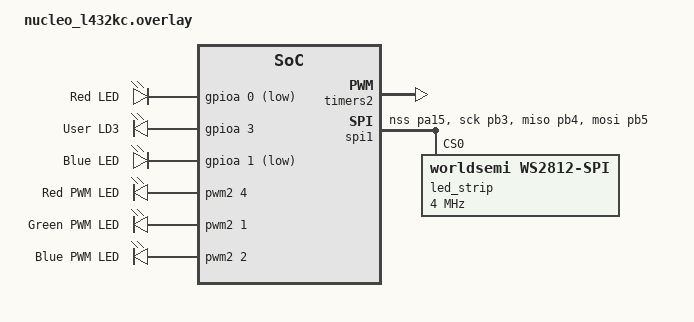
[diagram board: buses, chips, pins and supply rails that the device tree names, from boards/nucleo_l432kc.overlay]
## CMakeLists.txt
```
cmake_minimum_required(VERSION 3.20.5)

list(APPEND ZEPHYR_EXTRA_MODULES ${CMAKE_CURRENT_LIST_DIR}/../../)
find_package(Zephyr REQUIRED HINTS $ENV{ZEPHYR_BASE})
project(multi_led)

target_sources(app PRIVATE src/main.c)
```

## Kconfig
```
choice
	prompt "LED mode"
	default APP_LED_PIN_RGB
	depends on LED || LED_STRIP
	help
	Set GPIO/PWM LED pin configuration

config APP_LED_PIN_INDIVIDUAL
	bool "Individual pin mode"
	help
	Discrete LEDs on each GPIO.

config APP_LED_PIN_RGB
	bool "RGB pin mode"
	help
	RGB LED connected to 3 GPIO pins.

endchoice

source "Kconfig.zephyr"
```

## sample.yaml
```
sample:
  name: multi_led
common:
  tags: LED
  build_only: true
  integration_platforms:
    - nucleo_l432kc
tests:
  samples.multi_led:
    filter: dt_compat_enabled("gpio-leds")
```

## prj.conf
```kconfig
CONFIG_LOG=y
CONFIG_GPIO=y
CONFIG_LED=y
CONFIG_PWM=y
CONFIG_LED_PWM=y
CONFIG_LED_STRIP=y
CONFIG_APP_LED=y
```

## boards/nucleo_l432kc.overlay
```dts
#include <zephyr/dt-bindings/led/led.h>

/ {
	leds: leds {
		compatible = "gpio-leds";
		red_led: led_1 {
			gpios = <&gpioa 0 GPIO_ACTIVE_LOW>;
			label = "Red LED";
		};
		green_led: led_0 {
			gpios = <&gpioa 3 GPIO_ACTIVE_HIGH>;
			label = "User LD3";
		};
		blue_led: led_2 {
			gpios = <&gpioa 1 GPIO_ACTIVE_LOW>;
			label = "Blue LED";
		};
	};

	pwmleds {
		compatible = "pwm-leds";

		red_pwm_led: led_pwm_0 {
			pwms = <&pwm2 4 PWM_HZ(200) PWM_POLARITY_INVERTED>;
			label = "Red PWM LED";
		};

		green_pwm_led: led_pwm_1 {
			pwms = <&pwm2 1 PWM_HZ(200) PWM_POLARITY_INVERTED>;
			label = "Green PWM LED";
		};

		blue_pwm_led: led_pwm_2 {
			pwms = <&pwm2 2 PWM_HZ(200) PWM_POLARITY_INVERTED>;
			label = "Blue PWM LED";
		};
	};

	aliases {
		led-strip = &led_strip;
	};
};

&timers2 {
	status = "okay";

	pwm2: pwm {
		status = "okay";
		pinctrl-0 = <&tim2_ch1_pa0 &tim2_ch2_pa1 &tim2_ch4_pa3>;
		pinctrl-names = "default";
	};
};

&spi1 {
	status = "okay";
	pinctrl-0 = <&spi1_nss_pa15 &spi1_sck_pb3 &spi1_miso_pb4 &spi1_mosi_pb5>;

	led_strip: ws2812@0 {
		compatible = "worldsemi,ws2812-spi";

		/* SPI */
		reg = <0>; /* ignored, but necessary for SPI bindings */
		spi-max-frequency = <4000000>;
		frame-format = <32768>; /* SPI_FRAME_FORMAT_TI */

		/* WS2812 */
		chain-length = <6>; /* arbitrary; change at will */
		reset-delay = <50>; /* default 8 us but 50 us in datasheet and helps prevent flicker */
		spi-one-frame = <0x70>;
		spi-zero-frame = <0x40>;
		color-mapping = <LED_COLOR_ID_GREEN LED_COLOR_ID_RED LED_COLOR_ID_BLUE>;
	};
};
```

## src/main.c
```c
/**
 * @file main.c
 * @brief App LED mutli LED demo
 *
 * Demos using different LED types in the same application
 *
 */
#include <zephyr/device.h>
#include <zephyr/kernel.h>
#include <zephyr/logging/log.h>
#include <zephyr/drivers/gpio.h>
#include <zephyr/drivers/pwm.h>
#include <zephyr/drivers/led_strip.h>

#include <app_led/led.h>

LOG_MODULE_REGISTER(demo_app_led, LOG_LEVEL_INF);

#if DT_HAS_ALIAS(led_strip) && IS_ENABLED(CONFIG_LED_STRIP)
#define STRIP_LED_NODE_ID DT_ALIAS(led_strip)
/* APP_LED_STATIC_STRIP_DEFINE can be used but this helper gets NUM_LEDS from the chain-length
 * property of the led_strip node.
 */
APP_LED_STATIC_STRIP_DEFINE(strpled, STRIP_LED_NODE_ID);
#endif

#if DT_HAS_COMPAT_STATUS_OKAY(pwm_leds) && IS_ENABLED(CONFIG_LED_PWM)
#define PWM_LED_NODE_ID	 DT_COMPAT_GET_ANY_STATUS_OKAY(pwm_leds)
#define PWM_LED_NUM_LEDS DT_CHILD_NUM(PWM_LED_NODE_ID)
APP_LED_STATIC_DEFINE(pwmled, PWM_LED_NODE_ID, PWM_LED_NUM_LEDS, CONFIG_APP_LED_PIN_RGB);
#endif

#if DT_HAS_COMPAT_STATUS_OKAY(gpio_leds) && IS_ENABLED(CONFIG_LED)
#define GPIO_LED_NODE_ID  DT_COMPAT_GET_ANY_STATUS_OKAY(gpio_leds)
#define GPIO_LED_NUM_LEDS DT_CHILD_NUM(GPIO_LED_NODE_ID)
APP_LED_STATIC_DEFINE(gpioled, GPIO_LED_NODE_ID, GPIO_LED_NUM_LEDS, CONFIG_APP_LED_PIN_RGB);
#endif

int main(void)
{
#if DT_HAS_COMPAT_STATUS_OKAY(pwm_leds) && IS_ENABLED(CONFIG_LED_PWM)
	LOG_INF("PWM LED found, initializing");
	if (app_led_init(&pwmled) != 0) {
		LOG_ERR("Failed to initialize %s", pwmled.app_led->name);
		return 1;
	}

	/* Set PWM RGB LED to Rainbow mode*/
	app_led_set_global_brightness(&pwmled, 127, K_MSEC(100));
	app_led_set_mode(&pwmled, Rainbow, K_MSEC(100));
#endif

#if DT_HAS_ALIAS(led_strip) && IS_ENABLED(CONFIG_LED_STRIP)
	LOG_INF("LED strip found, initializing");
	if (app_led_init(&strpled) != 0) {
		LOG_ERR("Failed to initialize %s", strpled.app_led->name);
		return 1;
	}

	/* Set strip to sine sequence, white */
	app_led_set_global_brightness(&strpled, 127, K_MSEC(100));
	app_led_set_global_color(&strpled, RGBHEX(White), K_MSEC(100));
	app_led_run_sequence(&strpled, app_led_sine_sequence, -1, K_MSEC(100));
#endif

#if DT_HAS_COMPAT_STATUS_OKAY(gpio_leds) && IS_ENABLED(CONFIG_LED)
	LOG_INF("GPIO LED found, initializing");
	if (app_led_init(&gpioled) != 0) {
		LOG_ERR("Failed to initialize %s", gpioled.app_led->name);
		return 1;
	}

	/* Use GPIO LED to indicate activity */
	while (1) {
		app_led_indicate_act(&gpioled, Orange);
		k_sleep(K_MSEC(100));
	}
#endif

	return 0;
}
```
